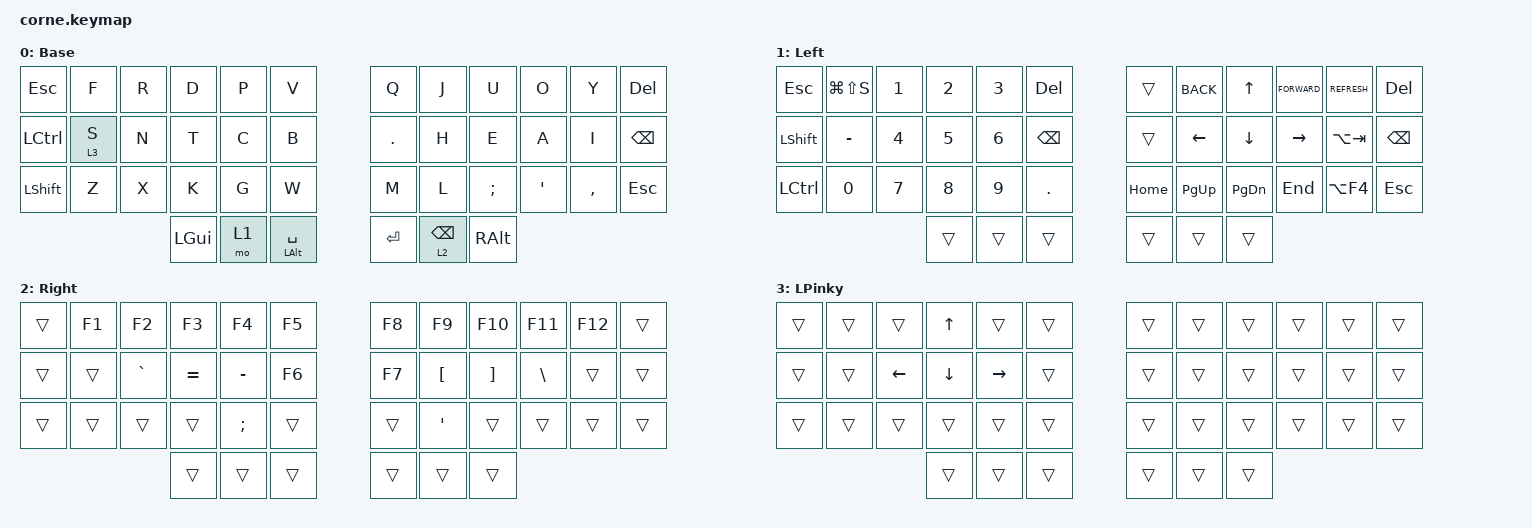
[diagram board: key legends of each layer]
/*
 * Copyright (c) 2020 The ZMK Contributors
 *
 * SPDX-License-Identifier: MIT
 */

#include <behaviors.dtsi>
#include <dt-bindings/zmk/keys.h>

/ {
    combos {
        compatible = "zmk,combos";

        copy-combo {
            bindings = <&kp LC(C)>;
            key-positions = <16 15>;
            timeout-ms = <30>;
            layers = <0>;
        };

        cut-combo {
            bindings = <&kp LC(X)>;
            key-positions = <16 3>;
            timeout-ms = <30>;
            layers = <0>;
        };

        paste-combo {
            bindings = <&kp LC(V)>;
            key-positions = <16 27>;
            timeout-ms = <30>;
            layers = <0>;
        };

        enter-combo {
            bindings = <&kp ENTER>;
            key-positions = <27 28>;
            timeout-ms = <30>;
            layers = <0>;
        };

        select-all-combo {
            bindings = <&kp ENTER>;
            key-positions = <16 14>;
            timeout-ms = <30>;
            layers = <0>;
        };

        tab-combo {
            bindings = <&kp TAB>;
            key-positions = <2 3>;
            timeout-ms = <30>;
            layers = <0>;
        };

        ctrl-bksp-combo {
            bindings = <&kp LC(BACKSPACE)>;
            key-positions = <19 20>;
            timeout-ms = <30>;
            layers = <0>;
        };

        ctrl-s-combo {
            bindings = <&kp LC(S)>;
            key-positions = <15 14>;
            timeout-ms = <30>;
            layers = <0>;
        };

        ctrl-z-combo {
            bindings = <&kp LC(Z)>;
            key-positions = <26 27>;
            timeout-ms = <30>;
            layers = <0>;
        };

        ctrl-shft-z {
            bindings = <&kp LC(LS(Z))>;
            key-positions = <26 28>;
            timeout-ms = <30>;
            layers = <0>;
        };
    };

    keymap {
        compatible = "zmk,keymap";

        Base {
            // -----------------------------------------------------------------------------------------
            // |  TAB |  Q  |  W  |  E  |  R  |  T  |   |  Y  |  U   |  I  |  O  |  P  | BSPC |
            // | CTRL |  A  |  S  |  D  |  F  |  G  |   |  H  |  J   |  K  |  L  |  ;  |  '   |
            // | SHFT |  Z  |  X  |  C  |  V  |  B  |   |  N  |  M   |  ,  |  .  |  /  | ESC  |
            //                    | GUI | LWR | SPC |   | ENT | RSE  | ALT |

            bindings = <
&kp ESC    &kp F    &kp R  &kp D     &kp P  &kp V                 &kp Q    &kp J            &kp U     &kp O     &kp Y      &kp DELETE
&kp LCTRL  &lt 3 S  &kp N  &kp T     &kp C  &kp B                 &kp DOT  &kp H            &kp E     &kp A     &kp I      &kp BSPC
&kp LSHFT  &kp Z    &kp X  &kp K     &kp G  &kp W                 &kp M    &kp L            &kp SEMI  &kp APOS  &kp COMMA  &kp ESC
                           &kp LGUI  &mo 1  &mt LEFT_ALT SPACE    &kp RET  &lt 2 BACKSPACE  &kp RALT
            >;
        };

        Left {
            // -----------------------------------------------------------------------------------------
            // |  TAB |  1  |  2  |  3  |  4  |  5  |   |  6  |  7  |  8  |  9  |  0  | BSPC |
            // | BTCLR| BT1 | BT2 | BT3 | BT4 | BT5 |   | LFT | DWN |  UP | RGT |     |      |
            // | SHFT |     |     |     |     |     |   |     |     |     |     |     |      |
            //                    | GUI |     | SPC |   | ENT |     | ALT |

            bindings = <
&kp ESC    &kp LG(LS(S))  &kp N1  &kp N2  &kp N3  &kp DELETE    &trans    &kp K_BACK  &kp UP_ARROW  &kp K_FORWARD  &kp K_REFRESH  &kp DELETE
&kp LSHFT  &kp MINUS      &kp N4  &kp N5  &kp N6  &kp BSPC      &trans    &kp LEFT    &kp DOWN      &kp RIGHT      &kp LA(TAB)    &kp BSPC
&kp LCTRL  &kp N0         &kp N7  &kp N8  &kp N9  &kp DOT       &kp HOME  &kp PG_UP   &kp PG_DN     &kp END        &kp LA(F4)     &kp ESC
                                  &trans  &trans  &trans        &trans    &trans      &trans
            >;
        };

        Right {
            // -----------------------------------------------------------------------------------------
            // |  TAB |  !  |  @  |  #  |  $  |  %  |   |  ^  |  &  |  *  |  (  |  )  | BSPC |
            // | CTRL |     |     |     |     |     |   |  -  |  =  |  [  |  ]  |  \  |  `   |
            // | SHFT |     |     |     |     |     |   |  _  |  +  |  {  |  }  | "|" |  ~   |
            //                    | GUI |     | SPC |   | ENT |     | ALT |

            bindings = <
&trans  &kp F1  &kp F2     &kp F3     &kp F4     &kp F5    &kp F8  &kp F9    &kp F10   &kp F11   &kp F12  &trans
&trans  &trans  &kp GRAVE  &kp EQUAL  &kp MINUS  &kp F6    &kp F7  &kp LBKT  &kp RBKT  &kp BSLH  &trans   &trans
&trans  &trans  &trans     &trans     &kp SEMI   &trans    &trans  &kp APOS  &trans    &trans    &trans   &trans
                           &trans     &trans     &trans    &trans  &trans    &trans
            >;
        };

        LPinky {
            bindings = <
&trans  &trans  &trans    &kp UP_ARROW  &trans     &trans    &trans  &trans  &trans  &trans  &trans  &trans
&trans  &trans  &kp LEFT  &kp DOWN      &kp RIGHT  &trans    &trans  &trans  &trans  &trans  &trans  &trans
&trans  &trans  &trans    &trans        &trans     &trans    &trans  &trans  &trans  &trans  &trans  &trans
                          &trans        &trans     &trans    &trans  &trans  &trans
            >;
        };
    };
};
